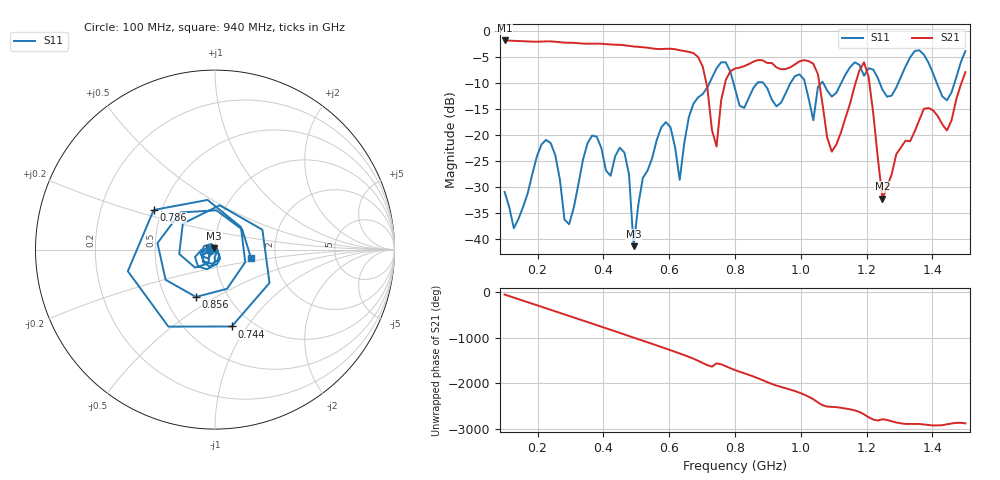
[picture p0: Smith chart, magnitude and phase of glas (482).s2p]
! NanoVNA-App
! Date: 2025-09-25 15:59:13
! Start: 100MHz Stop: 1,5GHz Points: 101
! S-Parameter data: F S11 S21 S12 S22
# Hz S RI R 50
!  Frequency  S11_Real  S11_Imag  S21_Real  S21_Imag  S12_Real  S12_Imag  S22_Real  S22_Imag
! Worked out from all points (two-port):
!   101 points, 100 MHz to 1.5 GHz, reference 50 ohm
!   highest |S21| = -1.80 dB at 100 MHz (marker M1); lowest = -32.2 dB at 1.248 GHz (marker M2)
!   |S21| within 3 dB of the highest: start of sweep to 684.3 MHz
!   lowest |S11| = -41.4 dB at 492 MHz (marker M3), VSWR 1.02, Z = 49.5 + j0.666 ohm
!   |S11| at or under -10 dB: start of sweep to 722.4 MHz; 795.4 MHz to 867.8 MHz (72.38 MHz wide, 8.7 % of centre); 886.1 MHz to 968.4 MHz (82.33 MHz wide, 8.88 % of centre) (the widest 3 of 7)
!   S12 and S22 are empty: the file has one direction only
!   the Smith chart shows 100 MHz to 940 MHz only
!   S11 on the Smith chart (normalised r, x): 100 MHz: 0.95, -0.01; 744 MHz: 0.80, -0.85; 786 MHz: 0.45, +0.24; 856 MHz: 0.71, -0.41; 940 MHz: 1.49, -0.14
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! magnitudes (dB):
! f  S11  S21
! 100 MHz  -30.9  -1.8
! 128 MHz  -37.9  -1.9
! 226 MHz  -20.9  -2.0
! 296 MHz  -37.1  -2.2
! 338 MHz  -24.8  -2.4
! 464 MHz  -23.4  -2.7
! 492 MHz  -41.4  -3.0
! 576 MHz  -18.5  -3.5
! 632 MHz  -28.6  -3.7
! 702 MHz  -12.1  -6.9
! 744 MHz  -7.2  -22.2
! 786 MHz  -7.8  -7.7
! 800 MHz  -11.1  -7.2
! 856 MHz  -10.9  -5.9
! 940 MHz  -13.8  -7.3
! 996 MHz  -8.3  -5.8
! 1.038 GHz  -17.1  -6.3
! 1.094 GHz  -12.6  -23.2
! 1.192 GHz  -8.6  -6.0
! 1.248 GHz  -11.3  -32.2
! 1.276 GHz  -12.4  -27.5
! 1.5 GHz  -3.8  -7.9
